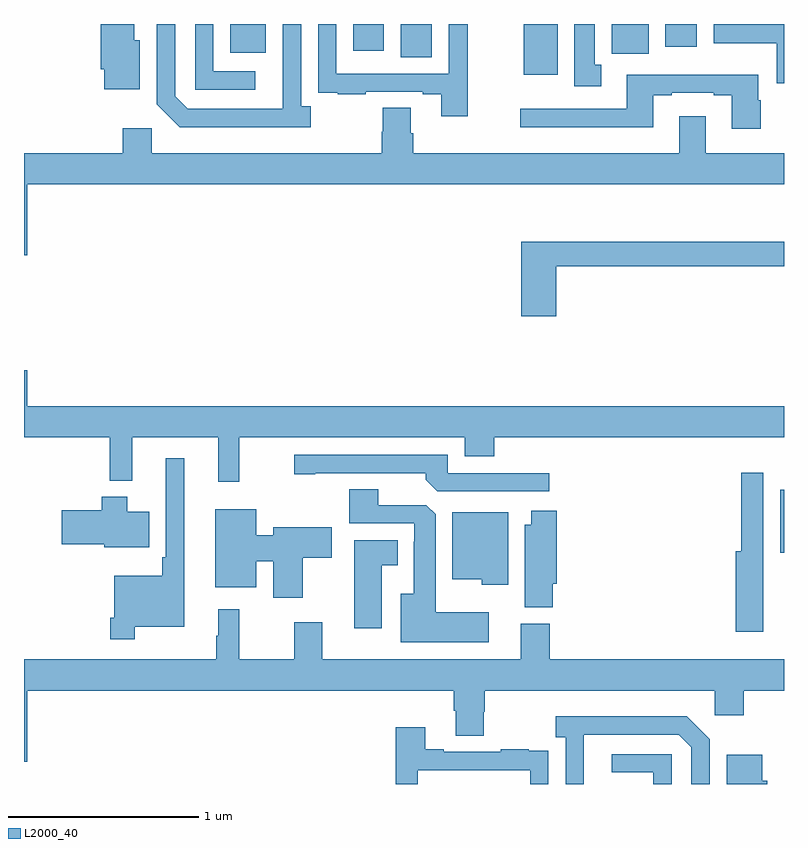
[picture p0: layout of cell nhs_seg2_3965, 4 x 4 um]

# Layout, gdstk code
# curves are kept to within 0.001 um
import gdstk
lib = gdstk.Library(unit=1e-6, precision=1e-09)
def R(c, l, rs):  # rectangles x0, y0, x1, y1
    for r in rs: c.add(gdstk.rectangle(r[:2], r[2:], *l))
def P(c, l, *ps):  # polygons
    for p in ps: c.add(gdstk.Polygon(p, *l))
L2000_40 = (2000, 40)

nhs_seg2_3965 = lib.new_cell('nhs_seg2_3965')
R(nhs_seg2_3965, L2000_40, [(324.981,659.016,325,659.35), (323.63,661.532,323.809,661.8), (322.982,661.624,323.146,661.8), (324.093,661.644,324.289,661.8), (322.085,661.649,322.273,661.8), (322.733,661.659,322.894,661.8), (324.374,661.68,324.541,661.8)])
P(nhs_seg2_3965, L2000_40, [(321.61,661.714),(321.58,661.714),(321.58,661.8),(321.403,661.8),(321.403,661.561),(321.422,661.561),(321.422,661.457),(321.61,661.457)],
  [(322.216,661.551),(321.996,661.551),(321.996,661.8),(321.9,661.8),(321.9,661.455),(322.216,661.455)],
  [(325,661.8),(324.629,661.8),(324.629,661.7),(324.962,661.7),(324.962,661.488),(325,661.488)],
  [(323.336,661.8),(323.235,661.8),(323.235,661.539),(322.644,661.539),(322.644,661.8),(322.548,661.8),(322.548,661.546),(322.549,661.546),(322.549,661.437),(322.651,661.437),(322.651,661.431),(322.799,661.431),(322.799,661.443),(323.099,661.443),(323.099,661.431),(323.195,661.431),(323.195,661.314),(323.336,661.314)],
  [(322.51,661.366),(322.458,661.366),(322.458,661.8),(322.362,661.8),(322.361,661.353),(321.861,661.353),(321.795,661.419),(321.795,661.8),(321.699,661.8),(321.699,661.377),(321.82,661.256),(322.51,661.256)],
  [(324.037,661.585),(324.004,661.585),(324.004,661.8),(323.897,661.8),(323.897,661.473),(324.037,661.473)],
  [(324.878,661.4),(324.865,661.4),(324.865,661.534),(324.173,661.534),(324.173,661.353),(323.613,661.353),(323.613,661.256),(324.313,661.256),(324.313,661.425),(324.409,661.425),(324.409,661.437),(324.629,661.437),(324.629,661.425),(324.725,661.425),(324.725,661.248),(324.878,661.248)],
  [(321,660.582),(321.016,660.582),(321.016,660.956),(325,660.956),(325,661.12),(324.589,661.12),(324.589,661.315),(324.449,661.315),(324.449,661.12),(323.048,661.12),(323.048,661.226),(323.035,661.226),(323.035,661.358),(322.888,661.358),(322.888,661.233),(322.883,661.233),(322.883,661.12),(321.672,661.12),(321.672,661.252),(321.521,661.252),(321.521,661.12),(321,661.12)],
  [(323.801,660.526),(325,660.526),(325,660.655),(323.618,660.655),(323.618,660.261),(323.801,660.261)],
  [(322.132,659.624),(323.321,659.624),(323.321,659.525),(323.474,659.525),(323.474,659.624),(325,659.624),(325,659.788),(321.016,659.788),(321.016,659.977),(321,659.977),(321,659.624),(321.451,659.624),(321.451,659.396),(321.569,659.396),(321.569,659.624),(322.022,659.624),(322.022,659.391),(322.132,659.391)],
  [(323.764,659.436),(323.229,659.436),(323.229,659.532),(322.422,659.532),(322.422,659.431),(322.534,659.431),(322.534,659.436),(323.114,659.436),(323.114,659.402),(323.175,659.34),(323.764,659.34)],
  [(321.583,658.628),(321.844,658.628),(321.844,659.515),(321.747,659.515),(321.747,658.993),(321.727,658.993),(321.727,658.897),(321.474,658.897),(321.474,658.675),(321.454,658.675),(321.454,658.563),(321.583,658.563)],
  [(324.892,658.922),(324.891,658.922),(324.891,659.437),(324.775,659.437),(324.775,659.026),(324.746,659.026),(324.746,658.602),(324.892,658.602)],
  [(323.446,658.705),(323.167,658.705),(323.167,659.219),(323.118,659.268),(322.864,659.268),(322.864,659.351),(322.712,659.351),(322.712,659.172),(323.055,659.172),(323.055,659.075),(323.051,659.075),(323.051,658.801),(322.982,658.801),(322.982,658.547),(323.446,658.547)],
  [(321.658,659.233),(321.544,659.233),(321.544,659.311),(321.41,659.311),(321.41,659.241),(321.198,659.241),(321.198,659.063),(321.422,659.063),(321.422,659.045),(321.658,659.045)],
  [(322.468,658.99),(322.621,658.99),(322.621,659.152),(322.313,659.152),(322.313,659.108),(322.222,659.108),(322.222,659.245),(322.007,659.245),(322.007,658.835),(322.222,658.835),(322.222,658.972),(322.313,658.972),(322.313,658.779),(322.468,658.779)],
  [(323.783,658.854),(323.804,658.854),(323.804,659.239),(323.669,659.239),(323.669,659.164),(323.636,659.164),(323.636,658.729),(323.783,658.729)],
  [(323.548,659.23),(323.255,659.23),(323.255,658.877),(323.409,658.877),(323.409,658.85),(323.548,658.85)],
  [(322.882,658.952),(322.966,658.952),(322.966,659.083),(322.739,659.083),(322.739,658.62),(322.882,658.62)],
  [(321.016,658.292),(323.261,658.292),(323.261,658.186),(323.273,658.186),(323.273,658.054),(323.421,658.054),(323.421,658.179),(323.426,658.179),(323.426,658.292),(324.636,658.292),(324.636,658.161),(324.788,658.161),(324.788,658.292),(325,658.292),(325,658.456),(323.768,658.456),(323.768,658.644),(323.615,658.644),(323.615,658.456),(322.57,658.456),(322.57,658.651),(322.423,658.651),(322.423,658.456),(322.132,658.456),(322.132,658.72),(322.022,658.72),(322.022,658.58),(322.011,658.58),(322.011,658.456),(321,658.456),(321,657.918),(321.016,657.918)],
  [(323.946,657.859),(323.947,658.059),(324.447,658.059),(324.513,657.993),(324.513,657.8),(324.609,657.8),(324.609,658.035),(324.488,658.156),(323.799,658.156),(323.799,658.046),(323.85,658.046),(323.85,657.8),(323.946,657.8)],
  [(323.073,657.873),(323.664,657.873),(323.664,657.8),(323.76,657.8),(323.76,657.866),(323.759,657.866),(323.759,657.975),(323.657,657.975),(323.657,657.982),(323.509,657.982),(323.509,657.969),(323.209,657.969),(323.209,657.982),(323.113,657.982),(323.113,658.099),(322.957,658.099),(322.957,657.8),(323.073,657.8)],
  [(324.408,657.957),(324.093,657.957),(324.093,657.861),(324.312,657.861),(324.312,657.8),(324.408,657.8)],
  [(324.911,657.816),(324.886,657.816),(324.886,657.955),(324.698,657.955),(324.698,657.8),(324.911,657.8)])

lib.write_gds('nhs_seg2_3965.gds')
